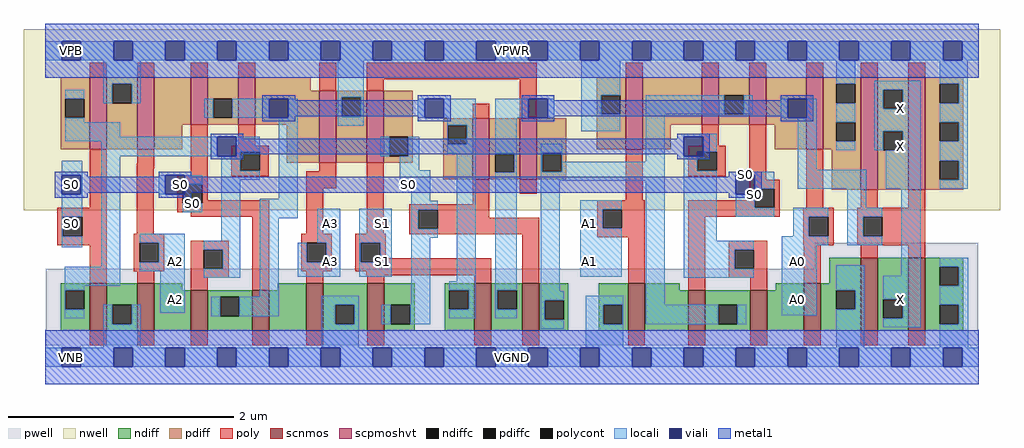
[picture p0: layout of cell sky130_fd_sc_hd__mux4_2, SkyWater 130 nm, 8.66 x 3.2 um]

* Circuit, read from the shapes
.subckt sky130_fd_sc_hd__mux4_2 A0 A1 A2 A3 S0 S1 VGND VNB VPB VPWR X
XM1 VGND S0 n1 VNB sky130_fd_pr__nfet_01v8 w=0.42 l=0.15
XM2 n2 A2 VGND VNB sky130_fd_pr__nfet_01v8 w=0.42 l=0.15
XM3 n3 n1 n2 VNB sky130_fd_pr__nfet_01v8 w=0.36 l=0.15
XM4 n4 S0 n3 VNB sky130_fd_pr__nfet_01v8 w=0.36 l=0.15
XM5 VGND A3 n4 VNB sky130_fd_pr__nfet_01v8 w=0.42 l=0.15
XM6 n5 S1 VGND VNB sky130_fd_pr__nfet_01v8 w=0.42 l=0.15
XM7 n6 S1 n3 VNB sky130_fd_pr__nfet_01v8 w=0.42 l=0.15
XM8 n7 n5 n6 VNB sky130_fd_pr__nfet_01v8 w=0.42 l=0.15
XM9 n8 A1 VGND VNB sky130_fd_pr__nfet_01v8 w=0.42 l=0.15
XM10 n7 S0 n8 VNB sky130_fd_pr__nfet_01v8 w=0.36 l=0.15
XM11 n9 n1 n7 VNB sky130_fd_pr__nfet_01v8 w=0.36 l=0.15
XM12 VGND A0 n9 VNB sky130_fd_pr__nfet_01v8 w=0.42 l=0.15
XM13 X n6 VGND VNB sky130_fd_pr__nfet_01v8 w=0.65 l=0.15 m=2
XM14 VPWR S0 n1 VPB sky130_fd_pr__pfet_01v8_hvt w=0.64 l=0.15
XM15 n10 A2 VPWR VPB sky130_fd_pr__pfet_01v8_hvt w=0.64 l=0.15
XM16 n3 S0 n10 VPB sky130_fd_pr__pfet_01v8_hvt w=0.42 l=0.15
XM17 n11 n1 n3 VPB sky130_fd_pr__pfet_01v8_hvt w=0.42 l=0.15
XM18 VPWR A3 n11 VPB sky130_fd_pr__pfet_01v8_hvt w=0.64 l=0.15
XM19 n5 S1 VPWR VPB sky130_fd_pr__pfet_01v8_hvt w=0.64 l=0.15
XM20 n6 n5 n3 VPB sky130_fd_pr__pfet_01v8_hvt w=0.54 l=0.15
XM21 n7 S1 n6 VPB sky130_fd_pr__pfet_01v8_hvt w=0.54 l=0.15
XM22 n12 A1 VPWR VPB sky130_fd_pr__pfet_01v8_hvt w=0.64 l=0.15
XM23 n7 n1 n12 VPB sky130_fd_pr__pfet_01v8_hvt w=0.42 l=0.15
XM24 n13 S0 n7 VPB sky130_fd_pr__pfet_01v8_hvt w=0.42 l=0.15
XM25 VPWR A0 n13 VPB sky130_fd_pr__pfet_01v8_hvt w=0.64 l=0.15
XM26 X n6 VPWR VPB sky130_fd_pr__pfet_01v8_hvt w=1 l=0.15 m=2
.ends

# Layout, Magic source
magic
tech sky130A
magscale 1 2
<< nwell >>
rect -38 261 1694 582
<< pwell >>
rect 1365 157 1655 203
rect 1 21 1655 157
rect 29 -17 63 21
<< scnmos >>
rect 79 47 109 131
rect 163 47 193 131
rect 258 47 288 119
rect 367 47 397 119
rect 463 47 493 131
rect 571 47 601 131
rect 761 47 791 131
rect 846 47 876 131
rect 1034 47 1064 131
rect 1141 47 1171 119
rect 1251 47 1281 119
rect 1346 47 1376 131
rect 1447 47 1477 177
rect 1531 47 1561 177
<< scpmoshvt >>
rect 79 369 109 497
rect 163 369 193 497
rect 258 413 288 497
rect 342 413 372 497
rect 486 345 516 473
rect 570 345 600 473
rect 758 316 788 424
rect 842 316 872 424
rect 1030 369 1060 497
rect 1165 413 1195 497
rect 1249 413 1279 497
rect 1350 369 1380 497
rect 1447 297 1477 497
rect 1531 297 1561 497
<< ndiff >>
rect 27 119 79 131
rect 27 85 35 119
rect 69 85 79 119
rect 27 47 79 85
rect 109 93 163 131
rect 109 59 119 93
rect 153 59 163 93
rect 109 47 163 59
rect 193 119 243 131
rect 412 119 463 131
rect 193 47 258 119
rect 288 107 367 119
rect 288 73 310 107
rect 344 73 367 107
rect 288 47 367 73
rect 397 47 463 119
rect 493 93 571 131
rect 493 59 514 93
rect 548 59 571 93
rect 493 47 571 59
rect 601 93 655 131
rect 601 59 613 93
rect 647 59 655 93
rect 601 47 655 59
rect 709 119 761 131
rect 709 85 717 119
rect 751 85 761 119
rect 709 47 761 85
rect 791 119 846 131
rect 791 85 802 119
rect 836 85 846 119
rect 791 47 846 85
rect 876 101 928 131
rect 876 67 886 101
rect 920 67 928 101
rect 876 47 928 67
rect 982 93 1034 131
rect 982 59 990 93
rect 1024 59 1034 93
rect 982 47 1034 59
rect 1064 119 1126 131
rect 1391 131 1447 177
rect 1296 119 1346 131
rect 1064 47 1141 119
rect 1171 93 1251 119
rect 1171 59 1194 93
rect 1228 59 1251 93
rect 1171 47 1251 59
rect 1281 47 1346 119
rect 1376 119 1447 131
rect 1376 85 1403 119
rect 1437 85 1447 119
rect 1376 47 1447 85
rect 1477 103 1531 177
rect 1477 69 1487 103
rect 1521 69 1531 103
rect 1477 47 1531 69
rect 1561 161 1629 177
rect 1561 127 1587 161
rect 1621 127 1629 161
rect 1561 93 1629 127
rect 1561 59 1587 93
rect 1621 59 1629 93
rect 1561 47 1629 59
<< pdiff >>
rect 27 459 79 497
rect 27 425 35 459
rect 69 425 79 459
rect 27 369 79 425
rect 109 485 163 497
rect 109 451 119 485
rect 153 451 163 485
rect 109 369 163 451
rect 193 413 258 497
rect 288 459 342 497
rect 288 425 298 459
rect 332 425 342 459
rect 288 413 342 425
rect 372 473 471 497
rect 372 413 486 473
rect 193 369 243 413
rect 428 345 486 413
rect 516 461 570 473
rect 516 427 526 461
rect 560 427 570 461
rect 516 345 570 427
rect 600 391 652 473
rect 978 465 1030 497
rect 978 431 986 465
rect 1020 431 1030 465
rect 600 357 610 391
rect 644 357 652 391
rect 600 345 652 357
rect 706 412 758 424
rect 706 378 714 412
rect 748 378 758 412
rect 706 316 758 378
rect 788 362 842 424
rect 788 328 798 362
rect 832 328 842 362
rect 788 316 842 328
rect 872 363 924 424
rect 978 369 1030 431
rect 1060 413 1165 497
rect 1195 465 1249 497
rect 1195 431 1205 465
rect 1239 431 1249 465
rect 1195 413 1249 431
rect 1279 413 1350 497
rect 1060 369 1110 413
rect 872 329 882 363
rect 916 329 924 363
rect 872 316 924 329
rect 1294 369 1350 413
rect 1380 485 1447 497
rect 1380 451 1403 485
rect 1437 451 1447 485
rect 1380 417 1447 451
rect 1380 383 1403 417
rect 1437 383 1447 417
rect 1380 369 1447 383
rect 1395 297 1447 369
rect 1477 475 1531 497
rect 1477 441 1487 475
rect 1521 441 1531 475
rect 1477 401 1531 441
rect 1477 367 1487 401
rect 1521 367 1531 401
rect 1477 297 1531 367
rect 1561 485 1629 497
rect 1561 451 1587 485
rect 1621 451 1629 485
rect 1561 417 1629 451
rect 1561 383 1587 417
rect 1621 383 1629 417
rect 1561 349 1629 383
rect 1561 315 1587 349
rect 1621 315 1629 349
rect 1561 297 1629 315
<< ndiffc >>
rect 35 85 69 119
rect 119 59 153 93
rect 310 73 344 107
rect 514 59 548 93
rect 613 59 647 93
rect 717 85 751 119
rect 802 85 836 119
rect 886 67 920 101
rect 990 59 1024 93
rect 1194 59 1228 93
rect 1403 85 1437 119
rect 1487 69 1521 103
rect 1587 127 1621 161
rect 1587 59 1621 93
<< pdiffc >>
rect 35 425 69 459
rect 119 451 153 485
rect 298 425 332 459
rect 526 427 560 461
rect 986 431 1020 465
rect 610 357 644 391
rect 714 378 748 412
rect 798 328 832 362
rect 1205 431 1239 465
rect 882 329 916 363
rect 1403 451 1437 485
rect 1403 383 1437 417
rect 1487 441 1521 475
rect 1487 367 1521 401
rect 1587 451 1621 485
rect 1587 383 1621 417
rect 1587 315 1621 349
<< poly >>
rect 79 497 109 523
rect 163 497 193 523
rect 258 497 288 523
rect 342 497 372 523
rect 486 473 516 523
rect 570 493 872 523
rect 1030 497 1060 523
rect 1165 497 1195 523
rect 1249 497 1279 523
rect 1350 497 1380 523
rect 1447 497 1477 523
rect 1531 497 1561 523
rect 570 473 600 493
rect 79 265 109 369
rect 163 343 193 369
rect 21 249 109 265
rect 21 215 31 249
rect 65 215 109 249
rect 162 335 193 343
rect 162 219 192 335
rect 258 323 288 413
rect 342 375 372 413
rect 234 307 288 323
rect 330 365 396 375
rect 330 331 346 365
rect 380 331 396 365
rect 758 424 788 450
rect 842 424 872 493
rect 330 321 396 331
rect 486 330 516 345
rect 234 273 244 307
rect 278 279 288 307
rect 463 300 516 330
rect 278 273 397 279
rect 234 257 397 273
rect 258 249 397 257
rect 21 199 109 215
rect 79 131 109 199
rect 157 203 211 219
rect 157 169 167 203
rect 201 169 211 203
rect 157 153 211 169
rect 258 191 325 207
rect 258 157 281 191
rect 315 157 325 191
rect 163 131 193 153
rect 258 141 325 157
rect 258 119 288 141
rect 367 119 397 249
rect 463 219 493 300
rect 570 219 600 345
rect 1165 375 1195 413
rect 758 272 788 316
rect 842 290 872 316
rect 1030 279 1060 369
rect 1141 365 1207 375
rect 1141 331 1157 365
rect 1191 331 1207 365
rect 1141 321 1207 331
rect 1249 315 1279 413
rect 1249 299 1303 315
rect 1249 279 1259 299
rect 646 262 788 272
rect 646 228 662 262
rect 696 248 788 262
rect 979 263 1064 279
rect 696 228 876 248
rect 454 203 508 219
rect 454 169 464 203
rect 498 169 508 203
rect 454 153 508 169
rect 550 203 604 219
rect 646 218 876 228
rect 550 169 560 203
rect 594 176 604 203
rect 594 169 791 176
rect 550 153 791 169
rect 463 131 493 153
rect 569 146 791 153
rect 571 131 601 146
rect 761 131 791 146
rect 846 131 876 218
rect 979 229 989 263
rect 1023 229 1064 263
rect 979 213 1064 229
rect 1034 131 1064 213
rect 1141 265 1259 279
rect 1293 265 1303 299
rect 1350 265 1380 369
rect 1447 265 1477 297
rect 1531 265 1561 297
rect 1141 249 1303 265
rect 1345 249 1399 265
rect 1141 119 1171 249
rect 1345 215 1355 249
rect 1389 215 1399 249
rect 1213 191 1281 207
rect 1345 199 1399 215
rect 1441 249 1561 265
rect 1441 215 1451 249
rect 1485 215 1561 249
rect 1441 199 1561 215
rect 1213 157 1223 191
rect 1257 157 1281 191
rect 1213 141 1281 157
rect 1251 119 1281 141
rect 1346 131 1376 199
rect 1447 177 1477 199
rect 1531 177 1561 199
rect 79 21 109 47
rect 163 21 193 47
rect 258 21 288 47
rect 367 21 397 47
rect 463 21 493 47
rect 571 21 601 47
rect 761 21 791 47
rect 846 21 876 47
rect 1034 21 1064 47
rect 1141 21 1171 47
rect 1251 21 1281 47
rect 1346 21 1376 47
rect 1447 21 1477 47
rect 1531 21 1561 47
<< polycont >>
rect 31 215 65 249
rect 346 331 380 365
rect 244 273 278 307
rect 167 169 201 203
rect 281 157 315 191
rect 1157 331 1191 365
rect 662 228 696 262
rect 464 169 498 203
rect 560 169 594 203
rect 989 229 1023 263
rect 1259 265 1293 299
rect 1355 215 1389 249
rect 1451 215 1485 249
rect 1223 157 1257 191
<< locali >>
rect 0 527 29 561
rect 63 527 121 561
rect 155 527 213 561
rect 247 527 305 561
rect 339 527 397 561
rect 431 527 489 561
rect 523 527 581 561
rect 615 527 673 561
rect 707 527 765 561
rect 799 527 857 561
rect 891 527 949 561
rect 983 527 1041 561
rect 1075 527 1133 561
rect 1167 527 1225 561
rect 1259 527 1317 561
rect 1351 527 1409 561
rect 1443 527 1501 561
rect 1535 527 1593 561
rect 1627 527 1656 561
rect 103 485 169 527
rect 35 459 69 475
rect 103 451 119 485
rect 153 451 169 485
rect 519 461 565 527
rect 282 425 298 459
rect 332 425 397 459
rect 431 425 448 459
rect 35 417 69 425
rect 35 391 133 417
rect 35 383 305 391
rect 99 357 305 383
rect 339 365 380 391
rect 339 357 346 365
rect 29 323 65 349
rect 63 289 65 323
rect 29 249 65 289
rect 29 215 31 249
rect 29 195 65 215
rect 99 161 133 357
rect 312 331 346 357
rect 201 289 213 323
rect 247 307 278 323
rect 244 257 278 273
rect 312 315 380 331
rect 34 127 133 161
rect 167 203 247 219
rect 312 207 346 315
rect 414 281 448 425
rect 519 427 526 461
rect 560 427 565 461
rect 951 465 1020 527
rect 1403 485 1437 527
rect 519 411 565 427
rect 661 425 673 459
rect 707 425 764 459
rect 713 412 764 425
rect 594 357 610 391
rect 644 357 663 391
rect 713 378 714 412
rect 748 378 764 412
rect 713 362 764 378
rect 629 332 663 357
rect 629 298 683 332
rect 201 169 247 203
rect 167 153 247 169
rect 34 119 69 127
rect 34 85 35 119
rect 34 69 69 85
rect 103 59 119 93
rect 153 59 169 93
rect 204 79 247 153
rect 281 191 346 207
rect 315 157 346 191
rect 281 141 346 157
rect 380 247 448 281
rect 649 278 683 298
rect 380 107 414 247
rect 482 203 523 264
rect 448 169 464 203
rect 498 169 523 203
rect 448 143 523 169
rect 557 203 615 264
rect 557 169 560 203
rect 594 169 615 203
rect 557 143 615 169
rect 649 262 696 278
rect 649 228 662 262
rect 649 212 696 228
rect 294 73 310 107
rect 344 73 414 107
rect 490 93 556 109
rect 649 93 683 212
rect 730 135 764 362
rect 103 17 169 59
rect 490 59 514 93
rect 548 59 556 93
rect 597 59 613 93
rect 647 59 683 93
rect 717 119 764 135
rect 751 85 764 119
rect 717 69 764 85
rect 798 425 857 459
rect 891 425 903 459
rect 951 431 986 465
rect 798 362 836 425
rect 951 401 1020 431
rect 1065 431 1205 465
rect 1239 431 1255 465
rect 832 328 836 362
rect 798 119 836 328
rect 798 85 802 119
rect 798 69 836 85
rect 879 363 917 379
rect 879 329 882 363
rect 916 347 917 363
rect 1065 347 1099 431
rect 1305 425 1317 459
rect 1351 425 1369 459
rect 916 329 1099 347
rect 879 313 1099 329
rect 879 117 913 313
rect 949 263 1023 279
rect 949 229 989 263
rect 949 143 1023 229
rect 879 101 920 117
rect 879 67 886 101
rect 490 17 556 59
rect 879 51 920 67
rect 959 93 1025 109
rect 959 59 990 93
rect 1024 59 1025 93
rect 1065 93 1099 313
rect 1133 391 1191 397
rect 1167 365 1191 391
rect 1133 331 1157 357
rect 1133 207 1191 331
rect 1335 333 1369 425
rect 1403 417 1437 451
rect 1403 367 1437 383
rect 1471 475 1553 491
rect 1471 441 1487 475
rect 1521 441 1553 475
rect 1471 401 1553 441
rect 1471 367 1487 401
rect 1521 367 1553 401
rect 1225 323 1293 329
rect 1259 299 1293 323
rect 1335 299 1457 333
rect 1491 299 1553 367
rect 1587 485 1637 527
rect 1621 451 1637 485
rect 1587 417 1637 451
rect 1621 383 1637 417
rect 1587 349 1637 383
rect 1621 315 1637 349
rect 1587 299 1637 315
rect 1225 265 1259 289
rect 1423 265 1457 299
rect 1225 249 1293 265
rect 1327 249 1389 265
rect 1327 215 1355 249
rect 1133 191 1257 207
rect 1133 157 1223 191
rect 1133 141 1257 157
rect 1307 199 1389 215
rect 1423 249 1485 265
rect 1423 215 1451 249
rect 1423 199 1485 215
rect 1065 59 1194 93
rect 1228 59 1244 93
rect 1307 75 1369 199
rect 1403 119 1453 163
rect 1519 145 1553 299
rect 1437 85 1453 119
rect 959 17 1025 59
rect 1403 17 1453 85
rect 1487 103 1553 145
rect 1521 69 1553 103
rect 1487 53 1553 69
rect 1587 161 1638 177
rect 1621 127 1638 161
rect 1587 93 1638 127
rect 1621 59 1638 93
rect 1587 17 1638 59
rect 0 -17 29 17
rect 63 -17 121 17
rect 155 -17 213 17
rect 247 -17 305 17
rect 339 -17 397 17
rect 431 -17 489 17
rect 523 -17 581 17
rect 615 -17 673 17
rect 707 -17 765 17
rect 799 -17 857 17
rect 891 -17 949 17
rect 983 -17 1041 17
rect 1075 -17 1133 17
rect 1167 -17 1225 17
rect 1259 -17 1317 17
rect 1351 -17 1409 17
rect 1443 -17 1501 17
rect 1535 -17 1593 17
rect 1627 -17 1656 17
<< viali >>
rect 29 527 63 561
rect 121 527 155 561
rect 213 527 247 561
rect 305 527 339 561
rect 397 527 431 561
rect 489 527 523 561
rect 581 527 615 561
rect 673 527 707 561
rect 765 527 799 561
rect 857 527 891 561
rect 949 527 983 561
rect 1041 527 1075 561
rect 1133 527 1167 561
rect 1225 527 1259 561
rect 1317 527 1351 561
rect 1409 527 1443 561
rect 1501 527 1535 561
rect 1593 527 1627 561
rect 397 425 431 459
rect 305 357 339 391
rect 29 289 63 323
rect 213 307 247 323
rect 213 289 244 307
rect 244 289 247 307
rect 673 425 707 459
rect 857 425 891 459
rect 1317 425 1351 459
rect 1133 365 1167 391
rect 1133 357 1157 365
rect 1157 357 1167 365
rect 1225 289 1259 323
rect 29 -17 63 17
rect 121 -17 155 17
rect 213 -17 247 17
rect 305 -17 339 17
rect 397 -17 431 17
rect 489 -17 523 17
rect 581 -17 615 17
rect 673 -17 707 17
rect 765 -17 799 17
rect 857 -17 891 17
rect 949 -17 983 17
rect 1041 -17 1075 17
rect 1133 -17 1167 17
rect 1225 -17 1259 17
rect 1317 -17 1351 17
rect 1409 -17 1443 17
rect 1501 -17 1535 17
rect 1593 -17 1627 17
<< metal1 >>
rect 0 561 1656 592
rect 0 527 29 561
rect 63 527 121 561
rect 155 527 213 561
rect 247 527 305 561
rect 339 527 397 561
rect 431 527 489 561
rect 523 527 581 561
rect 615 527 673 561
rect 707 527 765 561
rect 799 527 857 561
rect 891 527 949 561
rect 983 527 1041 561
rect 1075 527 1133 561
rect 1167 527 1225 561
rect 1259 527 1317 561
rect 1351 527 1409 561
rect 1443 527 1501 561
rect 1535 527 1593 561
rect 1627 527 1656 561
rect 0 496 1656 527
rect 385 459 443 465
rect 385 425 397 459
rect 431 456 443 459
rect 661 459 719 465
rect 661 456 673 459
rect 431 428 673 456
rect 431 425 443 428
rect 385 419 443 425
rect 661 425 673 428
rect 707 425 719 459
rect 661 419 719 425
rect 845 459 903 465
rect 845 425 857 459
rect 891 456 903 459
rect 1305 459 1363 465
rect 1305 456 1317 459
rect 891 428 1317 456
rect 891 425 903 428
rect 845 419 903 425
rect 1305 425 1317 428
rect 1351 425 1363 459
rect 1305 419 1363 425
rect 293 391 351 397
rect 293 357 305 391
rect 339 388 351 391
rect 1121 391 1179 397
rect 1121 388 1133 391
rect 339 360 1133 388
rect 339 357 351 360
rect 293 351 351 357
rect 1121 357 1133 360
rect 1167 357 1179 391
rect 1121 351 1179 357
rect 17 323 75 329
rect 17 289 29 323
rect 63 320 75 323
rect 201 323 259 329
rect 201 320 213 323
rect 63 292 213 320
rect 63 289 75 292
rect 17 283 75 289
rect 201 289 213 292
rect 247 320 259 323
rect 1213 323 1271 329
rect 1213 320 1225 323
rect 247 292 1225 320
rect 247 289 259 292
rect 201 283 259 289
rect 1213 289 1225 292
rect 1259 289 1271 323
rect 1213 283 1271 289
rect 0 17 1656 48
rect 0 -17 29 17
rect 63 -17 121 17
rect 155 -17 213 17
rect 247 -17 305 17
rect 339 -17 397 17
rect 431 -17 489 17
rect 523 -17 581 17
rect 615 -17 673 17
rect 707 -17 765 17
rect 799 -17 857 17
rect 891 -17 949 17
rect 983 -17 1041 17
rect 1075 -17 1133 17
rect 1167 -17 1225 17
rect 1259 -17 1317 17
rect 1351 -17 1409 17
rect 1443 -17 1501 17
rect 1535 -17 1593 17
rect 1627 -17 1656 17
rect 0 -48 1656 -17
<< labels >>
flabel pwell s 29 -17 63 17 0 FreeSans 200 0 0 0 VNB
port 8 nsew ground bidirectional
flabel nwell s 29 527 63 561 0 FreeSans 200 0 0 0 VPB
port 9 nsew power bidirectional
flabel metal1 s 29 -17 63 17 0 FreeSans 200 0 0 0 VGND
port 7 nsew ground bidirectional abutment
flabel metal1 s 29 527 63 561 0 FreeSans 200 0 0 0 VPWR
port 10 nsew power bidirectional abutment
flabel locali s 1501 357 1535 391 0 FreeSans 400 0 0 0 X
port 11 nsew signal output
flabel locali s 29 221 63 255 0 FreeSans 400 0 0 0 S0
port 5 nsew signal input
flabel locali s 29 289 63 323 0 FreeSans 400 0 0 0 S0
port 5 nsew signal input
flabel locali s 213 153 247 187 0 FreeSans 400 0 0 0 A2
port 3 nsew signal input
flabel locali s 213 85 247 119 0 FreeSans 400 0 0 0 A2
port 3 nsew signal input
flabel locali s 489 153 523 187 0 FreeSans 400 0 0 0 A3
port 4 nsew signal input
flabel locali s 489 221 523 255 0 FreeSans 400 0 0 0 A3
port 4 nsew signal input
flabel locali s 581 221 615 255 0 FreeSans 400 0 0 0 S1
port 6 nsew signal input
flabel locali s 581 153 615 187 0 FreeSans 400 0 0 0 S1
port 6 nsew signal input
flabel locali s 949 221 983 255 0 FreeSans 400 0 0 0 A1
port 2 nsew signal input
flabel locali s 949 153 983 187 0 FreeSans 400 0 0 0 A1
port 2 nsew signal input
flabel locali s 1317 153 1351 187 0 FreeSans 400 0 0 0 A0
port 1 nsew signal input
flabel locali s 1317 85 1351 119 0 FreeSans 400 0 0 0 A0
port 1 nsew signal input
flabel locali s 1501 85 1535 119 0 FreeSans 400 0 0 0 X
port 11 nsew signal output
flabel locali s 1501 425 1535 459 0 FreeSans 400 0 0 0 X
port 11 nsew signal output
rlabel comment s 0 0 0 0 4 mux4_2
rlabel locali s 244 257 278 289 1 S0
port 5 nsew signal input
rlabel locali s 201 289 278 323 1 S0
port 5 nsew signal input
rlabel locali s 1225 249 1293 329 1 S0
port 5 nsew signal input
rlabel metal1 s 1213 320 1271 329 1 S0
port 5 nsew signal input
rlabel metal1 s 1213 283 1271 292 1 S0
port 5 nsew signal input
rlabel metal1 s 201 320 259 329 1 S0
port 5 nsew signal input
rlabel metal1 s 201 283 259 292 1 S0
port 5 nsew signal input
rlabel metal1 s 17 320 75 329 1 S0
port 5 nsew signal input
rlabel metal1 s 17 292 1271 320 1 S0
port 5 nsew signal input
rlabel metal1 s 17 283 75 292 1 S0
port 5 nsew signal input
rlabel metal1 s 0 -48 1656 48 1 VGND
port 7 nsew ground bidirectional abutment
rlabel metal1 s 0 496 1656 592 1 VPWR
port 10 nsew power bidirectional abutment
<< properties >>
string FIXED_BBOX 0 0 1656 544
string GDS_END 1784084
string GDS_FILE $PDKPATH/libs.ref/sky130_fd_sc_hd/gds/sky130_fd_sc_hd.gds
string GDS_START 1769846
string LEFclass CORE
string LEFsite unithd
string LEFsymmetry X Y R90
string path 0.000 13.600 41.400 13.600 
<< end >>
